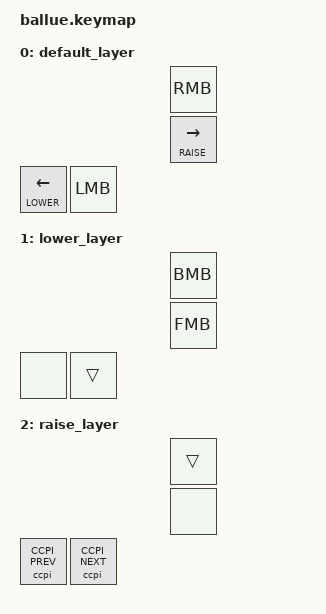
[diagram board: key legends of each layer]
/*
 * Copyright (c) 2021 The ZMK Contributors
 *
 * SPDX-License-Identifier: MIT
 */

#include <behaviors.dtsi>
#include <dt-bindings/zmk/keys.h>
#include <dt-bindings/zmk/pointing.h>
#include <dt-bindings/zmk/mouse.h>
// #include <behaviors/cycle_cpi.dtsi>
#include <dt-bindings/zmk/cycle_cpi.h>

#define LOWER 1
#define RAISE 2

#define LHT &lt LOWER LEFT
#define RHT &lt RAISE RIGHT

/ {
    combos {
        compatible = "zmk,combos";
        combo_mb3 {
            timeout-ms = <50>;
            key-positions = <0 1>;
            bindings = <&mkp MB3>;
        };
        combo_ctrlw {
            timeout-ms = <50>;
            key-positions = <2 3>;
            bindings = <&kp LC(W)>;
        };
        combo_studio {
            timeout-ms = <100>;
            key-positions = <1 2 3>;
            bindings = <&studio_unlock>;
        };
        combo_bootloader {
            timeout-ms = <100>;
            key-positions = <0 1 2 3>;
            bindings = <&bootloader>;
        };
    };

    behaviors {
        ccpi: ccpi {
            compatible = "zmk,behavior-cycle-cpi";
            #binding-cells = <1>;
            device = <&trackball>;
            cpis = <200 400 600 800 1000 1600 2400 3200>;
            initial-cpi-index = <2>;
            display-name = "CPI";
        };
    };

    keymap {
        compatible = "zmk,keymap";

        default_layer {
            bindings = <
                LHT                 &kp LMB                 &kp RMB        RHT
            >;
        };
        lower_layer {
            bindings = <
                &none               &trans                  &kp BMB        &kp FMB
            >;
        };
        raise_layer {
            bindings = <
                &ccpi CCPI_PREV     &ccpi CCPI_NEXT         &trans          &none
            >;
        };
    };

};
